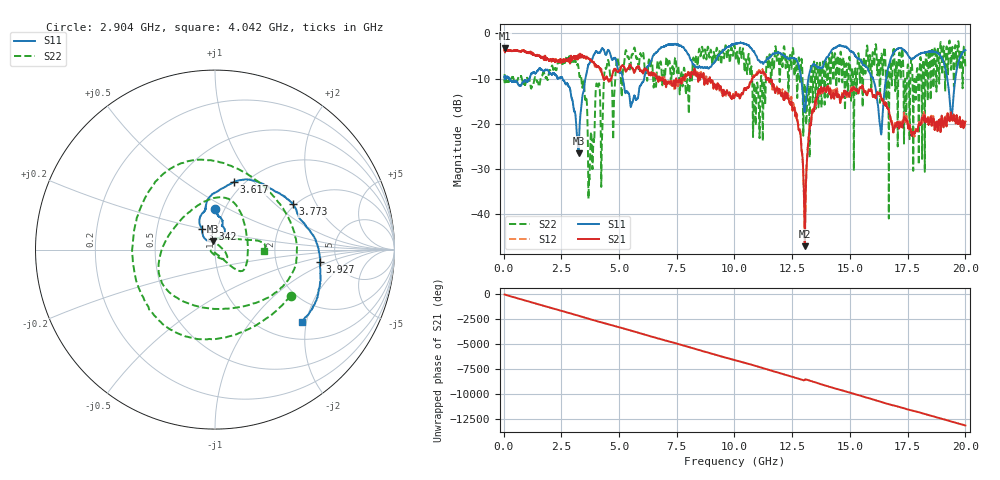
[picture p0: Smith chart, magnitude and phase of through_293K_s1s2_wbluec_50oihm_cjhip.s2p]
!Agilent Technologies,E8364A,US41440322,A.04.87.01
!Agilent E8364A: A.04.87.01
!Date: Thursday, July 11, 2024 14:20:59
!Correction: S11(Full 2 Port SOLT,1,2) S21(Full 2 Port SOLT,1,2) S12(Full 2 Port SOLT,1,2) S22(Full 2 Port SOLT,1,2)
!S2P File: Measurements: S11, S21, S12, S22:
# Hz S  dB  R 50
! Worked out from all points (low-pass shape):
!   12801 points, 45 MHz to 20 GHz, reference 50 ohm
!   highest |S21| = -3.32 dB at 46.56 MHz (marker M1); lowest = -47.1 dB at 13.05 GHz (marker M2)
!   |S21| within 3 dB of the highest: start of sweep to 2.223 GHz; 2.89 GHz to 3.868 GHz (978 MHz wide, 28.9 % of centre)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
!   lowest |S11| = -26.6 dB at 3.246 GHz (marker M3), VSWR 1.10, Z = 48.6 + j4.42 ohm
!   |S11| at or under -10 dB: 260.5 MHz to 1.117 GHz (857 MHz wide, 124 % of centre); 2.559 GHz to 3.542 GHz (983.7 MHz wide, 32.2 % of centre); 5.162 GHz to 6.088 GHz (926.6 MHz wide, 16.5 % of centre)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
!   |S22| runs from -41.0 to -1.5 dB; largest |S21 - S12| = 0.074
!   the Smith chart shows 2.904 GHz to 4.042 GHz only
!   S11 on the Smith chart (normalised r, x): 2.904 GHz: 0.90, +0.43; 3.342 GHz: 0.84, +0.19; 3.617 GHz: 0.90, +0.80; 3.773 GHz: 1.93, +1.32; 3.927 GHz: 3.69, -0.81; 4.042 GHz: 1.40, -1.87
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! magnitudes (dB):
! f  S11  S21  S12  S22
! 45 MHz  -9.5  -3.4  -3.9  -9.0
! 46.56 MHz  -9.7  -3.3  -3.8  -10.2
! 2.904 GHz  -13.0  -5.5  -5.6  -6.1
! 3.246 GHz  -26.6  -4.7  -5.0  -7.5
! 3.342 GHz  -17.4  -5.2  -5.1  -9.1
! 3.372 GHz  -16.2  -5.0  -5.0  -10.3
! 3.617 GHz  -8.2  -5.5  -5.2  -16.5
! 3.773 GHz  -6.0  -5.9  -6.0  -22.8
! 3.927 GHz  -4.6  -6.5  -6.7  -23.7
! 4.042 GHz  -4.0  -7.4  -7.4  -11.2
! 5.553 GHz  -15.4  -7.7  -7.6  -4.6
! 6.697 GHz  -3.7  -10.7  -10.1  -6.3
! 10.02 GHz  -2.2  -13.7  -13.2  -3.4
! 11 GHz  -5.8  -8.9  -8.5  -11.4
! 12.4 GHz  -5.6  -15.4  -14.8  -4.9
! 13.05 GHz  -17.3  -47.1  -46.8  -11.4
! 13.35 GHz  -7.3  -17.7  -17.2  -8.2
! 14.88 GHz  -3.2  -13.1  -13.6  -10.3
! 16.33 GHz  -21.6  -13.8  -13.9  -6.9
! 16.67 GHz  -7.2  -16.9  -16.8  -19.4
! 19.4 GHz  -18.3  -18.8  -18.5  -6.2
! 20 GHz  -3.7  -19.5  -20.1  -7.7
